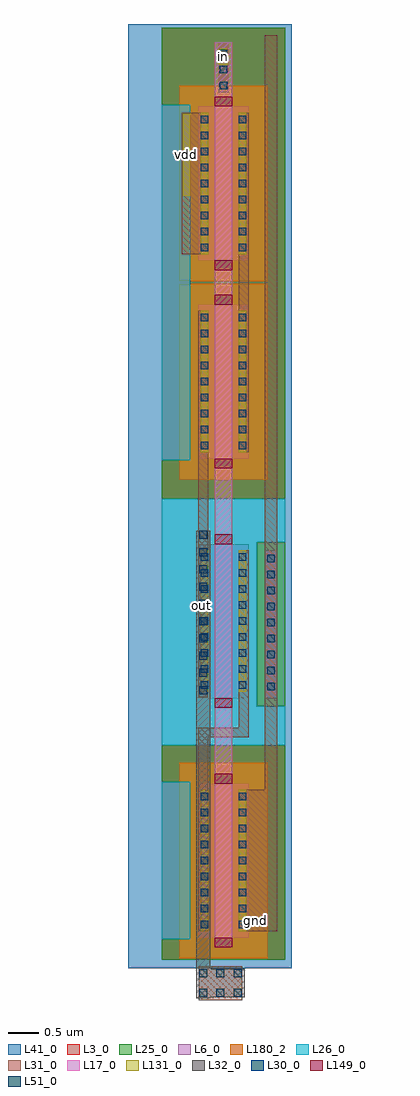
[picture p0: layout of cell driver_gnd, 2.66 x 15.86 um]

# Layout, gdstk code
from math import pi, radians
import gdstk
lib = gdstk.Library(unit=1e-6, precision=1e-09)
def R(c, l, rs):  # rectangles x0, y0, x1, y1
    for r in rs: c.add(gdstk.rectangle(r[:2], r[2:], *l))
def A(c, l, x, y, w, h, nx, ny, dx, dy):  # array of equal rectangles
    R(c, l, [(x+i*dx, y+j*dy, x+i*dx+w, y+j*dy+h) for i in range(nx) for j in range(ny)])
L3_0 = (3, 0)
L6_0 = (6, 0)
L17_0 = (17, 0)
L25_0 = (25, 0)
L26_0 = (26, 0)
L30_0 = (30, 0)
L31_0 = (31, 0)
L32_0 = (32, 0)
L41_0 = (41, 0)
L51_0 = (51, 0)
L131_0 = (131, 0)
L149_0 = (149, 0)
L180_2 = (180, 2)

pc_ct = lib.new_cell('pc_ct')
R(pc_ct, L30_0, [(0,0,0.12,0.12)])

nsvt25_cdns_578353201160 = lib.new_cell('nsvt25_CDNS_578353201160')
R(nsvt25_cdns_578353201160, L6_0, [(-0.27,0,0,2.5), (-0.27,0,0.55,2.5), (0.28,0,0.55,2.5)])
R(nsvt25_cdns_578353201160, L17_0, [(0,-0.16,0.28,2.66)])
R(nsvt25_cdns_578353201160, L26_0, [(-0.4,-0.36,0.68,2.86)])
R(nsvt25_cdns_578353201160, L31_0, [(-0.23,0.1,-0.11,2.4), (0.39,0.1,0.51,2.4)])
R(nsvt25_cdns_578353201160, L41_0, [(-0.54,-0.34,0.82,2.84)])
R(nsvt25_cdns_578353201160, L131_0, [(-0.23,0.1,-0.11,2.4), (0.39,0.1,0.51,2.4)])
R(nsvt25_cdns_578353201160, L149_0, [(0,-0.16,0.28,0), (0,2.5,0.28,2.66)])
r = gdstk.Reference(pc_ct, (0.39,0.15)); r.repetition = gdstk.Repetition(1, 9, v1=(0.26,0), v2=(0,0.26)); nsvt25_cdns_578353201160.add(r)
r = gdstk.Reference(pc_ct, (-0.23,0.15)); r.repetition = gdstk.Repetition(1, 9, v1=(0.26,0), v2=(0,0.26)); nsvt25_cdns_578353201160.add(r)
nsvt25_cdns_578353201160.add(gdstk.Label('d', (0.28,0), layer=6, texttype=0))
nsvt25_cdns_578353201160.add(gdstk.Label('s', (0,0), layer=6, texttype=0))
nsvt25_cdns_578353201160.add(gdstk.Label('d', (0.415,1.25), layer=127, texttype=0))
nsvt25_cdns_578353201160.add(gdstk.Label('s', (-0.135,1.25), layer=127, texttype=0))
nsvt25_cdns_578353201160.add(gdstk.Label('d', (0.45,1.25), layer=131, texttype=0))
nsvt25_cdns_578353201160.add(gdstk.Label('s', (-0.17,1.25), layer=131, texttype=0))
nsvt25_cdns_578353201160.add(gdstk.Label('g', (0.14,2.58), layer=149, texttype=0))
nsvt25_cdns_578353201160.add(gdstk.Label('g', (0.14,-0.08), layer=149, texttype=0))

psvt25_cdns_578353201161 = lib.new_cell('psvt25_CDNS_578353201161')
R(psvt25_cdns_578353201161, L3_0, [(-0.58,-0.34,0.86,2.84)])
R(psvt25_cdns_578353201161, L6_0, [(-0.27,0,0,2.5), (-0.27,0,0.55,2.5), (0.28,0,0.55,2.5)])
R(psvt25_cdns_578353201161, L17_0, [(0,-0.16,0.28,2.66)])
R(psvt25_cdns_578353201161, L25_0, [(-0.4,-0.36,0.68,2.86)])
R(psvt25_cdns_578353201161, L31_0, [(-0.23,0.1,-0.11,2.4), (0.39,0.1,0.51,2.4)])
R(psvt25_cdns_578353201161, L41_0, [(-0.58,-0.34,0.86,2.84)])
R(psvt25_cdns_578353201161, L131_0, [(-0.23,0.1,-0.11,2.4), (0.39,0.1,0.51,2.4)])
R(psvt25_cdns_578353201161, L149_0, [(0,-0.16,0.28,0), (0,2.5,0.28,2.66)])
R(psvt25_cdns_578353201161, L180_2, [(-0.58,-0.34,0.86,2.84)])
r = gdstk.Reference(pc_ct, (0.39,0.15)); r.repetition = gdstk.Repetition(1, 9, v1=(0.26,0), v2=(0,0.26)); psvt25_cdns_578353201161.add(r)
r = gdstk.Reference(pc_ct, (-0.23,0.15)); r.repetition = gdstk.Repetition(1, 9, v1=(0.26,0), v2=(0,0.26)); psvt25_cdns_578353201161.add(r)
psvt25_cdns_578353201161.add(gdstk.Label('d', (0.28,0), layer=6, texttype=0))
psvt25_cdns_578353201161.add(gdstk.Label('s', (0,0), layer=6, texttype=0))
psvt25_cdns_578353201161.add(gdstk.Label('d', (0.415,1.25), layer=127, texttype=0))
psvt25_cdns_578353201161.add(gdstk.Label('s', (-0.135,1.25), layer=127, texttype=0))
psvt25_cdns_578353201161.add(gdstk.Label('d', (0.45,1.25), layer=131, texttype=0))
psvt25_cdns_578353201161.add(gdstk.Label('s', (-0.17,1.25), layer=131, texttype=0))
psvt25_cdns_578353201161.add(gdstk.Label('g', (0.14,2.58), layer=149, texttype=0))
psvt25_cdns_578353201161.add(gdstk.Label('g', (0.14,-0.08), layer=149, texttype=0))
psvt25_cdns_578353201161.add(gdstk.Label('b', (0.14,1.25), layer=180, texttype=2))

m1__po_cdns_578353201160 = lib.new_cell('M1__PO_CDNS_578353201160')
R(m1__po_cdns_578353201160, L17_0, [(-0.08,-0.37,0.08,0.37)])
A(m1__po_cdns_578353201160, L30_0, -0.06, -0.32, 0.12, 0.12, 1, 3, 0, 0.26)
R(m1__po_cdns_578353201160, L31_0, [(-0.06,-0.37,0.06,0.37)])

m2_m1_s_cdns_57835320116 = lib.new_cell('M2_M1_S_CDNS_578353201161')
R(m2_m1_s_cdns_57835320116, L31_0, [(-0.35,-0.275,0.35,0.275)])
R(m2_m1_s_cdns_57835320116, L32_0, [(-0.395,-0.23,0.395,0.23)])
A(m2_m1_s_cdns_57835320116, L51_0, -0.345, -0.225, 0.13, 0.13, 3, 2, 0.28, 0.32)

c_m2_m1_s_cdns_57835320116 = lib.new_cell('M2_M1_S_CDNS_578353201162')
R(c_m2_m1_s_cdns_57835320116, L31_0, [(-0.07,-1.375,0.07,1.375)])
R(c_m2_m1_s_cdns_57835320116, L32_0, [(-0.115,-1.33,0.115,1.33)])
A(c_m2_m1_s_cdns_57835320116, L51_0, -0.065, -1.325, 0.13, 0.13, 1, 10, 0, 0.28)

driver_gnd = lib.new_cell('driver_gnd')
R(driver_gnd, L3_0, [(-1.86,0.63,0.14,4.11), (-1.4,0.63,0.14,4.11), (-1.86,8.12,0.14,15.77), (-1.4,8.12,0.14,15.63), (-1.58,11.61,-1.4,11.65)])
R(driver_gnd, L17_0, [(-1,3.64,-0.72,3.68), (-1,15.43,-0.72,15.53)])
R(driver_gnd, L25_0, [(-1.86,0.63,-1.4,0.96), (-0.32,0.63,0.14,3.85), (-1.86,3.52,-1.4,4.11), (-1.4,3.85,0.14,4.11), (-1.86,8.12,-1.4,8.74), (-1.4,8.12,0.14,8.41), (-0.32,8.41,0.14,14.85), (-1.86,14.52,-1.4,15.77), (-1.4,14.85,0.14,15.63), (-1.4,15.63,0.14,15.77)])
R(driver_gnd, L26_0, [(-1.86,0.96,-1.4,3.52), (-1.86,4.11,-1.4,8.12), (-1.4,4.11,0.14,4.52), (-0.32,4.52,0.14,4.75), (-0.32,7.41,0.14,7.74), (-1.4,7.74,0.14,8.12), (-1.86,8.74,-1.4,14.52)])
A(driver_gnd, L30_0, -0.15, 5.01, 0.12, 0.12, 1, 9, 0, 0.26)
R(driver_gnd, L31_0, [(-1.27,1.09,-1.11,4.4), (-0.49,1.09,-0.19,3.39), (-1.27,4.98,-1.11,11.17), (-0.61,4.98,-0.45,7.28), (-0.61,8.87,-0.45,14.39), (-1.54,12.09,-1.23,14.39), (-0.94,14.72,-0.78,15.53)])
R(driver_gnd, L41_0, [(-2.41,0.49,0.25,15.83)])
R(driver_gnd, L131_0, [(-0.4,1.2,-0.28,1.32), (-1.27,6.32,-1.15,6.44), (-1.52,13.04,-1.4,14.37), (-0.94,15.17,-0.79,15.43)])
driver_gnd.add(gdstk.FlexPath([(-0.09,7.28),(-0.09,4.88)], 0.2, ends="flush", simple_path=True, layer=31, datatype=0))  # L31_0
driver_gnd.add(gdstk.FlexPath([(-0.09,4.88),(-0.09,1.09)], 0.2, ends="flush", simple_path=True, layer=31, datatype=0))  # L31_0
driver_gnd.add(gdstk.FlexPath([(-0.53,4.98),(-0.53,4.32)], 0.16, ends=(0, 0.08), simple_path=True, layer=31, datatype=0))  # L31_0
driver_gnd.add(gdstk.FlexPath([(-0.53,4.32),(-1.23,4.32)], 0.16, ends=(0.08, 0), simple_path=True, layer=31, datatype=0))  # L31_0
driver_gnd.add(gdstk.FlexPath([(-0.09,7.28),(-0.09,15.65)], 0.2, ends="flush", simple_path=True, layer=31, datatype=0))  # L31_0
driver_gnd.add(gdstk.FlexPath([(-0.86,14.625),(-0.86,15.43)], 0.28, ends="flush", simple_path=True, layer=17, datatype=0))  # L17_0
driver_gnd.add(gdstk.FlexPath([(-0.86,3.675),(-0.86,8.7)], 0.28, ends="flush", simple_path=True, layer=17, datatype=0))  # L17_0
driver_gnd.add(gdstk.FlexPath([(-0.86,11.96),(-0.86,11.34)], 0.28, ends="flush", simple_path=True, layer=17, datatype=0))  # L17_0
driver_gnd.add(gdstk.FlexPath([(-0.09,7.28),(-0.09,4.88)], 0.2, ends="flush", simple_path=True, layer=6, datatype=0))  # L6_0
driver_gnd.add(gdstk.FlexPath([(-0.09,7.41),(-0.09,4.75)], 0.46, ends="flush", simple_path=True, layer=25, datatype=0))  # L25_0
driver_gnd.add(gdstk.FlexPath([(-1.19,6.27),(-1.19,0)], 0.23, ends="flush", simple_path=True, layer=32, datatype=0))  # L32_0
driver_gnd.add(gdstk.Reference(nsvt25_cdns_578353201160, (-0.72,4.88), rotation=pi, x_reflection=True))
driver_gnd.add(gdstk.Reference(psvt25_cdns_578353201161, (-1,3.49), x_reflection=True))
driver_gnd.add(gdstk.Reference(psvt25_cdns_578353201161, (-1,14.49), x_reflection=True))
driver_gnd.add(gdstk.Reference(psvt25_cdns_578353201161, (-0.72,8.77), rotation=pi, x_reflection=True))
driver_gnd.add(gdstk.Reference(m1__po_cdns_578353201160, (-0.86,15.09), rotation=pi, x_reflection=True))
driver_gnd.add(gdstk.Reference(m2_m1_s_cdns_57835320116, (-0.91,0.25), rotation=pi, x_reflection=True))
driver_gnd.add(gdstk.Reference(c_m2_m1_s_cdns_57835320116, (-1.19,6.27), rotation=pi, x_reflection=True))
driver_gnd.add(gdstk.Label('gnd', (-0.34,1.26), layer=131, texttype=0))
driver_gnd.add(gdstk.Label('vdd', (-1.46,13.705), layer=131, texttype=0))
driver_gnd.add(gdstk.Label('out', (-1.21,6.38), layer=131, texttype=0))
driver_gnd.add(gdstk.Label('in', (-0.865,15.3), layer=131, texttype=0))

lib.write_gds('driver_gnd.gds')
